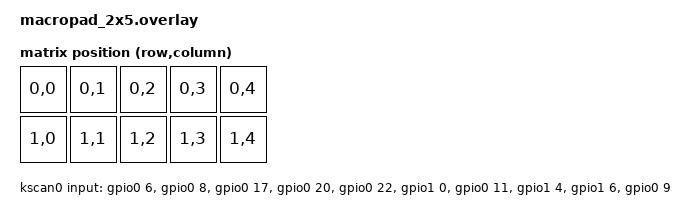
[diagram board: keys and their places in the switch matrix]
#include <dt-bindings/gpio/gpio.h>
#include <dt-bindings/zmk/matrix_transform.h>

/ {
    chosen {
        zmk,kscan = &kscan0;
        zmk,matrix-transform = &default_transform;
    };

    default_transform: keymap_transform_0 {
        compatible = "zmk,matrix-transform";
        columns = <5>;
        rows = <2>;
        map = <
            RC(0,0) RC(0,1) RC(0,2) RC(0,3) RC(0,4)
            RC(1,0) RC(1,1) RC(1,2) RC(1,3) RC(1,4)
        >;
    };

    kscan0: kscan0 {
        compatible = "zmk,kscan-gpio-direct";
        wakeup-source;
        input-gpios
            = <&gpio0 6  (GPIO_ACTIVE_LOW | GPIO_PULL_UP)>   /* D1  - P0.06 */
            , <&gpio0 8  (GPIO_ACTIVE_LOW | GPIO_PULL_UP)>   /* D0  - P0.08 */
            , <&gpio0 17 (GPIO_ACTIVE_LOW | GPIO_PULL_UP)>   /* D2  - P0.17 */
            , <&gpio0 20 (GPIO_ACTIVE_LOW | GPIO_PULL_UP)>   /* D3  - P0.20 */
            , <&gpio0 22 (GPIO_ACTIVE_LOW | GPIO_PULL_UP)>   /* D4  - P0.22 */
            , <&gpio1 0  (GPIO_ACTIVE_LOW | GPIO_PULL_UP)>   /* D6  - P1.00 */
            , <&gpio0 11 (GPIO_ACTIVE_LOW | GPIO_PULL_UP)>   /* D7  - P0.11 */
            , <&gpio1 4  (GPIO_ACTIVE_LOW | GPIO_PULL_UP)>   /* D8  - P1.04 */
            , <&gpio1 6  (GPIO_ACTIVE_LOW | GPIO_PULL_UP)>   /* D9  - P1.06 */
            , <&gpio0 9  (GPIO_ACTIVE_LOW | GPIO_PULL_UP)>   /* D10 - P0.09 */
            ;
    };
};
